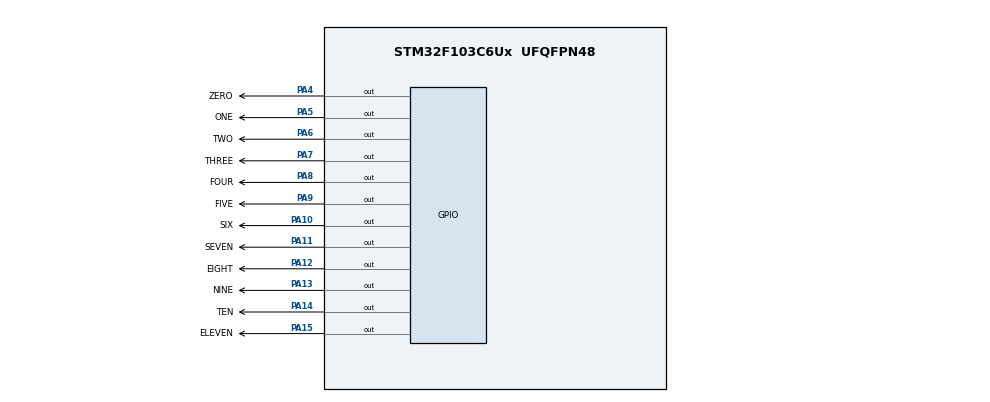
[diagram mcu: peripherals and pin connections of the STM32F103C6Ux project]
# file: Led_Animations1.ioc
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Mcu.Family=STM32F1
Mcu.Name=STM32F103C6Ux
Mcu.Package=UFQFPN48
NVIC.PriorityGroup=NVIC_PRIORITYGROUP_4
PA10.GPIO_Label=SIX
PA10.Signal=GPIO_Output
PA11.GPIO_Label=SEVEN
PA11.Signal=GPIO_Output
PA12.GPIO_Label=EIGHT
PA12.Signal=GPIO_Output
PA13.GPIO_Label=NINE
PA13.Signal=GPIO_Output
PA14.GPIO_Label=TEN
PA14.Signal=GPIO_Output
PA15.GPIO_Label=ELEVEN
PA15.Signal=GPIO_Output
PA4.GPIO_Label=ZERO
PA4.Signal=GPIO_Output
PA5.GPIO_Label=ONE
PA5.Signal=GPIO_Output
PA6.GPIO_Label=TWO
PA6.Signal=GPIO_Output
PA7.GPIO_Label=THREE
PA7.Signal=GPIO_Output
PA8.GPIO_Label=FOUR
PA8.Signal=GPIO_Output
PA9.GPIO_Label=FIVE
PA9.Signal=GPIO_Output
ProjectManager.HeapSize=0x200
ProjectManager.StackSize=0x400
ProjectManager.TargetToolchain=STM32CubeIDE
RCC.APB1Freq_Value=8000000
RCC.APB2Freq_Value=8000000
VP_SYS_VS_ND.Mode=No_Debug
board=custom

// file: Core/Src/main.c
/* USER CODE BEGIN Header */
/**
  ******************************************************************************
  * @file           : main.c
  * @brief          : Main program body
  ******************************************************************************
  * @attention
  *
  * <h2><center>&copy; Copyright (c) 2024 STMicroelectronics.
  * All rights reserved.</center></h2>
  *
  * This software component is licensed by ST under BSD 3-Clause license,
  * the "License"; You may not use this file except in compliance with the
  * License. You may obtain a copy of the License at:
  *                        opensource.org/licenses/BSD-3-Clause
  *
  ******************************************************************************
  */
/* USER CODE END Header */
#include "main.h"

void SystemClock_Config(void);
static void MX_GPIO_Init(void);

/* USER CODE BEGIN 0 */
void clearAllClock(){
    HAL_GPIO_WritePin(ZERO_GPIO_Port, ZERO_Pin, 1);
    HAL_GPIO_WritePin(ONE_GPIO_Port, ONE_Pin, 1);
    HAL_GPIO_WritePin(TWO_GPIO_Port, TWO_Pin, 1);
    HAL_GPIO_WritePin(THREE_GPIO_Port, THREE_Pin, 1);
    HAL_GPIO_WritePin(FOUR_GPIO_Port, FOUR_Pin, 1);
    HAL_GPIO_WritePin(FIVE_GPIO_Port, FIVE_Pin, 1);
    HAL_GPIO_WritePin(SIX_GPIO_Port, SIX_Pin, 1);
    HAL_GPIO_WritePin(SEVEN_GPIO_Port, SEVEN_Pin, 1);
    HAL_GPIO_WritePin(EIGHT_GPIO_Port, EIGHT_Pin, 1);
    HAL_GPIO_WritePin(NINE_GPIO_Port, NINE_Pin, 1);
    HAL_GPIO_WritePin(TEN_GPIO_Port, TEN_Pin, 1);
    HAL_GPIO_WritePin(ELEVEN_GPIO_Port, ELEVEN_Pin, 1);
}

void setNumberOnClock(int num) {
    switch (num) {
    case 0:
        HAL_GPIO_WritePin(ZERO_GPIO_Port, ZERO_Pin, 0);
        break;
    case 1:
        HAL_GPIO_WritePin(ONE_GPIO_Port, ONE_Pin, 0);
        break;
    case 2:
        HAL_GPIO_WritePin(TWO_GPIO_Port, TWO_Pin, 0);
        break;
    case 3:
        HAL_GPIO_WritePin(THREE_GPIO_Port, THREE_Pin, 0);
        break;
    case 4:
        HAL_GPIO_WritePin(FOUR_GPIO_Port, FOUR_Pin, 0);
        break;
    case 5:
        HAL_GPIO_WritePin(FIVE_GPIO_Port, FIVE_Pin, 0);
        break;
    case 6:
        HAL_GPIO_WritePin(SIX_GPIO_Port, SIX_Pin, 0);
        break;
    case 7:
        HAL_GPIO_WritePin(SEVEN_GPIO_Port, SEVEN_Pin, 0);
        break;
    case 8:
        HAL_GPIO_WritePin(EIGHT_GPIO_Port, EIGHT_Pin, 0);
        break;
    case 9:
        HAL_GPIO_WritePin(NINE_GPIO_Port, NINE_Pin, 0);
        break;
    case 10:
        HAL_GPIO_WritePin(TEN_GPIO_Port, TEN_Pin, 0);
        break;
    case 11:
        HAL_GPIO_WritePin(ELEVEN_GPIO_Port, ELEVEN_Pin, 0);
        break;
    }
}

void clearNumberOnClock(int num) {
    switch (num) {
    case 0:
        HAL_GPIO_WritePin(ZERO_GPIO_Port, ZERO_Pin, 1);
        break;
    case 1:
        HAL_GPIO_WritePin(ONE_GPIO_Port, ONE_Pin, 1);
        break;
    case 2:
        HAL_GPIO_WritePin(TWO_GPIO_Port, TWO_Pin, 1);
        break;
    case 3:
        HAL_GPIO_WritePin(THREE_GPIO_Port, THREE_Pin, 1);
        break;
    case 4:
        HAL_GPIO_WritePin(FOUR_GPIO_Port, FOUR_Pin, 1);
        break;
    case 5:
        HAL_GPIO_WritePin(FIVE_GPIO_Port, FIVE_Pin, 1);
        break;
    case 6:
        HAL_GPIO_WritePin(SIX_GPIO_Port, SIX_Pin, 1);
        break;
    case 7:
        HAL_GPIO_WritePin(SEVEN_GPIO_Port, SEVEN_Pin, 1);
        break;
    case 8:
        HAL_GPIO_WritePin(EIGHT_GPIO_Port, EIGHT_Pin, 1);
        break;
    case 9:
        HAL_GPIO_WritePin(NINE_GPIO_Port, NINE_Pin, 1);
        break;
    case 10:
        HAL_GPIO_WritePin(TEN_GPIO_Port, TEN_Pin, 1);
        break;
    case 11:
        HAL_GPIO_WritePin(ELEVEN_GPIO_Port, ELEVEN_Pin, 1);
        break;
    }
}
/* USER CODE END 0 */

int main(void)
{

  /* MCU Configuration--------------------------------------------------------*/

  /* Reset of all peripherals, Initializes the Flash interface and the Systick. */
  HAL_Init();

  /* Configure the system clock */
  SystemClock_Config();

  /* Initialize all configured peripherals */
  MX_GPIO_Init();

  /* Infinite loop */
  /* USER CODE BEGIN WHILE */
  int hour = 0, minute = 0, second = 0;
  clearAllClock();
  while (1)
  {
	  if (second >= 60) {
		  second = 0;
		  clearNumberOnClock(minute/5);
		  ++minute;
	  }
	  setNumberOnClock(second/5);
	  if (minute >= 60) {
		  minute = 0;
		  clearNumberOnClock(hour);
		  ++hour;
	  }
	  setNumberOnClock(minute/5);
	  if (hour >= 12) {
		  hour = 0;
	  }
	  setNumberOnClock(hour);
	  HAL_Delay(1000);
	  clearNumberOnClock(second/5);
	  ++second;
    /* USER CODE END WHILE */

  }
}

void SystemClock_Config(void)
{
  RCC_OscInitTypeDef RCC_OscInitStruct = {0};
  RCC_ClkInitTypeDef RCC_ClkInitStruct = {0};

  /** Initializes the RCC Oscillators according to the specified parameters
  * in the RCC_OscInitTypeDef structure.
  */
  RCC_OscInitStruct.OscillatorType = RCC_OSCILLATORTYPE_HSI;
  RCC_OscInitStruct.HSIState = RCC_HSI_ON;
  RCC_OscInitStruct.HSICalibrationValue = RCC_HSICALIBRATION_DEFAULT;
  RCC_OscInitStruct.PLL.PLLState = RCC_PLL_NONE;
  if (HAL_RCC_OscConfig(&RCC_OscInitStruct) != HAL_OK)
  {
    Error_Handler();
  }
  /** Initializes the CPU, AHB and APB buses clocks
  */
  RCC_ClkInitStruct.ClockType = RCC_CLOCKTYPE_HCLK|RCC_CLOCKTYPE_SYSCLK
                              |RCC_CLOCKTYPE_PCLK1|RCC_CLOCKTYPE_PCLK2;
  RCC_ClkInitStruct.SYSCLKSource = RCC_SYSCLKSOURCE_HSI;
  RCC_ClkInitStruct.AHBCLKDivider = RCC_SYSCLK_DIV1;
  RCC_ClkInitStruct.APB1CLKDivider = RCC_HCLK_DIV1;
  RCC_ClkInitStruct.APB2CLKDivider = RCC_HCLK_DIV1;

  if (HAL_RCC_ClockConfig(&RCC_ClkInitStruct, FLASH_LATENCY_0) != HAL_OK)
  {
    Error_Handler();
  }
}

static void MX_GPIO_Init(void)
{
  GPIO_InitTypeDef GPIO_InitStruct = {0};

  /* GPIO Ports Clock Enable */
  __HAL_RCC_GPIOA_CLK_ENABLE();

  /*Configure GPIO pin Output Level */
  HAL_GPIO_WritePin(GPIOA, ZERO_Pin|ONE_Pin|TWO_Pin|THREE_Pin
                          |FOUR_Pin|FIVE_Pin|SIX_Pin|SEVEN_Pin
                          |EIGHT_Pin|NINE_Pin|TEN_Pin|ELEVEN_Pin, GPIO_PIN_RESET);

  /*Configure GPIO pins : ZERO_Pin ONE_Pin TWO_Pin THREE_Pin
                           FOUR_Pin FIVE_Pin SIX_Pin SEVEN_Pin
                           EIGHT_Pin NINE_Pin TEN_Pin ELEVEN_Pin */
  GPIO_InitStruct.Pin = ZERO_Pin|ONE_Pin|TWO_Pin|THREE_Pin
                          |FOUR_Pin|FIVE_Pin|SIX_Pin|SEVEN_Pin
                          |EIGHT_Pin|NINE_Pin|TEN_Pin|ELEVEN_Pin;
  GPIO_InitStruct.Mode = GPIO_MODE_OUTPUT_PP;
  GPIO_InitStruct.Pull = GPIO_NOPULL;
  GPIO_InitStruct.Speed = GPIO_SPEED_FREQ_LOW;
  HAL_GPIO_Init(GPIOA, &GPIO_InitStruct);

}

void Error_Handler(void)
{
  __disable_irq();
  while (1)
  {
  }
}

/************************ (C) COPYRIGHT STMicroelectronics *****END OF FILE****/
